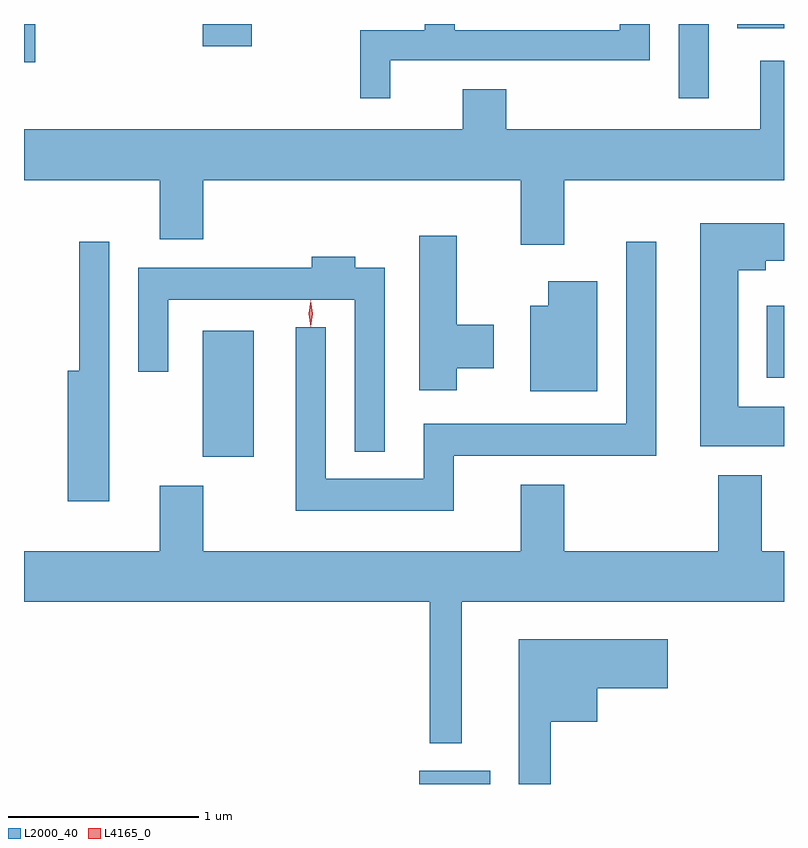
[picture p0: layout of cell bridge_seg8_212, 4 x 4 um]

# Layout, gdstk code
import gdstk
lib = gdstk.Library(unit=1e-6, precision=1e-09)
def R(c, l, rs):  # rectangles x0, y0, x1, y1
    for r in rs: c.add(gdstk.rectangle(r[:2], r[2:], *l))
def P(c, l, *ps):  # polygons
    for p in ps: c.add(gdstk.Polygon(p, *l))
L2000_40 = (2000, 40)
L4165_0 = (4165, 0)

bridge_seg8_212 = lib.new_cell('bridge_seg8_212')
R(bridge_seg8_212, L2000_40, [(1067.406,1908.718,1067.779,1908.789), (1066.266,1910.441,1066.534,1911.104), (1069.236,1910.856,1069.326,1911.234), (1068.771,1912.328,1068.929,1912.718), (1065.326,1912.516,1065.384,1912.718), (1066.266,1912.601,1066.524,1912.718), (1069.081,1912.696,1069.326,1912.718)])
P(bridge_seg8_212, L2000_40, [(1067.254,1912.526),(1068.619,1912.526),(1068.619,1912.718),(1068.461,1912.718),(1068.461,1912.684),(1067.594,1912.684),(1067.594,1912.718),(1067.436,1912.718),(1067.436,1912.684),(1067.096,1912.684),(1067.096,1912.328),(1067.254,1912.328)],
  [(1068.169,1911.896),(1069.326,1911.896),(1069.326,1912.524),(1069.201,1912.524),(1069.201,1912.164),(1067.864,1912.164),(1067.864,1912.374),(1067.636,1912.374),(1067.636,1912.164),(1065.326,1912.164),(1065.326,1911.896),(1066.041,1911.896),(1066.041,1911.586),(1066.269,1911.586),(1066.269,1911.896),(1067.941,1911.896),(1067.941,1911.556),(1068.169,1911.556)],
  [(1069.326,1910.704),(1069.084,1910.704),(1069.084,1911.421),(1069.229,1911.421),(1069.229,1911.471),(1069.326,1911.471),(1069.326,1911.669),(1068.886,1911.669),(1068.886,1910.496),(1069.326,1910.496)],
  [(1067.604,1910.906),(1067.799,1910.906),(1067.799,1911.134),(1067.604,1911.134),(1067.604,1911.604),(1067.406,1911.604),(1067.406,1910.791),(1067.604,1910.791)],
  [(1067.589,1910.446),(1068.654,1910.446),(1068.654,1911.573),(1068.496,1911.573),(1068.496,1910.614),(1067.431,1910.614),(1067.431,1910.324),(1066.914,1910.324),(1066.914,1911.123),(1066.756,1911.123),(1066.756,1910.156),(1067.589,1910.156)],
  [(1065.774,1911.573),(1065.616,1911.573),(1065.616,1910.894),(1065.556,1910.894),(1065.556,1910.206),(1065.774,1910.206)],
  [(1067.224,1911.434),(1067.069,1911.434),(1067.069,1911.494),(1066.841,1911.494),(1066.841,1911.434),(1065.926,1911.434),(1065.926,1910.888),(1066.084,1910.888),(1066.084,1911.266),(1067.066,1911.266),(1067.066,1910.468),(1067.224,1910.468)],
  [(1068.344,1911.364),(1068.086,1911.364),(1068.086,1911.234),(1067.991,1911.234),(1067.991,1910.786),(1068.344,1910.786)],
  [(1067.629,1909.676),(1069.326,1909.676),(1069.326,1909.944),(1069.209,1909.944),(1069.209,1910.344),(1068.981,1910.344),(1068.981,1909.944),(1068.169,1909.944),(1068.169,1910.294),(1067.941,1910.294),(1067.941,1909.944),(1066.269,1909.944),(1066.269,1910.289),(1066.041,1910.289),(1066.041,1909.944),(1065.326,1909.944),(1065.326,1909.676),(1067.461,1909.676),(1067.461,1908.933),(1067.629,1908.933)],
  [(1068.099,1909.046),(1068.344,1909.046),(1068.344,1909.221),(1068.714,1909.221),(1068.714,1909.479),(1067.931,1909.479),(1067.931,1908.718),(1068.099,1908.718)])
P(bridge_seg8_212, L4165_0, [(1066.834,1911.127),(1066.834,1911.127),(1066.824,1911.194),(1066.834,1911.26),(1066.834,1911.26),(1066.835,1911.26),(1066.844,1911.194),(1066.835,1911.127)],
  [(1066.834,1911.124),(1066.825,1911.193),(1066.834,1911.262),(1066.835,1911.263),(1066.835,1911.262),(1066.845,1911.193),(1066.835,1911.124),(1066.835,1911.124)])

lib.write_gds('bridge_seg8_212.gds')
